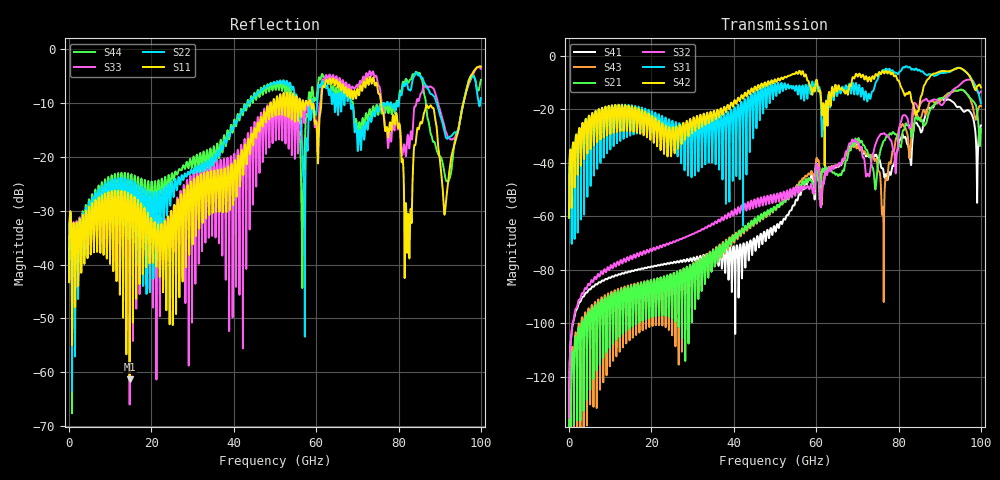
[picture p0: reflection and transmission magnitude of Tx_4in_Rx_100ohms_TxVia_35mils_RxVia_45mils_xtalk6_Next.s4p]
! Info: Touchstone file created by Circ.  Input file=Tx_4in_Rx_100ohms_TxVia_35mils_RxVia_45mils.circ
# Hz S RI R 50
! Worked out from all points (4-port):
!   10000 points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, 10 MHz to 100 GHz, reference 50 ohm
!   strongest paths, dB at 10 MHz, 25.01 GHz, 50.01 GHz, 75.01 GHz, 100 GHz:
!     S42: -60.5, -28.6, -8.7, -7.1, -11.7
!     S31: -60.5, -24.5, -10.3, -8.3, -17.7
!     S32: -135.5, -70.0, -53.3, -30.6, -13.3
!     S21: -144.9, -97.6, -56.8, -40.1, -27.2
!     S43: -143.3, -101.8, -56.8, -42.6, -18.7
!     S41: -135.5, -77.6, -65.0, -38.7, -26.0
!   lowest |S11| = -61.4 dB at 14.71 GHz (marker M1), VSWR 1.00, Z = 50.1 + j0.0206 ohm
!   |S11| at or under -10 dB: start of sweep to 48.87 GHz; 58.72 GHz to 61.24 GHz (2.522 GHz wide, 4.2 % of centre); 75.75 GHz to 95.74 GHz (20 GHz wide, 23.3 % of centre) (the widest 3 of 15)
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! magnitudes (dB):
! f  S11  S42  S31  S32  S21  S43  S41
! 10 MHz  -43.2  -60.5  -60.5  -135.5  -144.9  -143.3  -135.5
! 14.71 GHz  -61.4  -22.9  -23.4  -75.8  -99.1  -102.9  -80.8
! 73.45 GHz  -6.4  -8.6  -13.7  -38.8  -40.8  -38.1  -37.5
! 76.21 GHz  -11.8  -5.6  -5.2  -29.0  -32.3  -56.9  -42.1
! 82.4 GHz  -30.8  -13.8  -4.2  -25.1  -25.7  -32.5  -33.9
! 91.91 GHz  -25.7  -5.8  -6.0  -15.3  -14.7  -14.1  -16.2
! 100 GHz  -3.2  -11.7  -17.7  -13.3  -27.2  -18.7  -26.0
